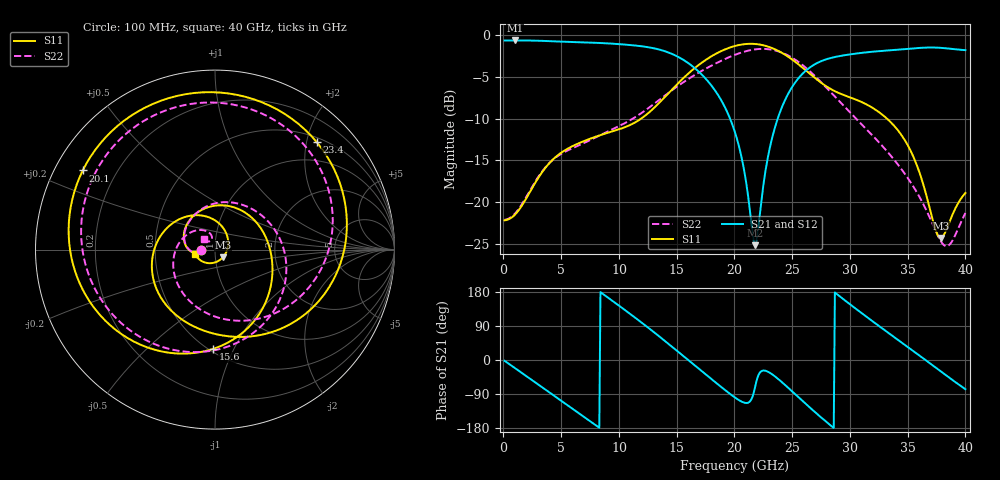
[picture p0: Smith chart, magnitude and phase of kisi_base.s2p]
! B_s8_L1L3_stub_d200: L1→L3, through via (stub to L8), drill Ø0.2
! stackup: 8-layer 1.6 mm FR-4 (generic)
! ports: 1, 2
! kisi-fdtd, conformal, dfine 0.035 mm, 595595 cells
# Hz S RI R 50
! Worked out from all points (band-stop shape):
!   400 points, 100 MHz to 40 GHz, reference 50 ohm
!   highest |S21| = -0.69 dB at 1 GHz (marker M1); lowest = -25.1 dB at 21.8 GHz (marker M2)
!   |S21| within 3 dB of the highest: start of sweep to 16.3 GHz; 26.77 GHz to end of sweep
!   lowest |S11| = -24.2 dB at 37.9 GHz (marker M3), VSWR 1.13, Z = 54.4 - j4.64 ohm
!   |S11| at or under -10 dB: start of sweep to 11.94 GHz; 33.2 GHz to end of sweep
!   |S22| runs from -25.2 to -1.7 dB; largest |S21 - S12| = 0.0068
!   S11 on the Smith chart (normalised r, x): 100 MHz: 0.86, -0.00; 15.6 GHz: 0.52, -0.84; 20.1 GHz: 0.08, +0.27; 23.4 GHz: 0.58, +2.19; 40 GHz: 0.80, -0.04
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1e8  -0.078 -0.00117  0.9233 -0.0345  0.9192 -0.0338  -0.0787 -0.00116
1e9  -0.0836 -0.0118  0.8603 -0.3371  0.8602 -0.333  -0.0849 -0.0114
3.9e9  -0.1664 0.0297  0.099 -0.9105  0.0959 -0.9112  -0.1659 0.0345
6.8e9  -0.0939 0.2092  -0.747 -0.5029  -0.7461 -0.5049  -0.1178 0.1893
9.6e9  0.1764 0.2005  -0.7827 0.4081  -0.7815 0.4092  0.0802 0.264
1.16e10  0.3052 0.00622  -0.2537 0.8208  -0.2546 0.8199  0.2781 0.1748
1.34e10  0.3007 -0.2432  0.3528 0.7385  0.3533 0.7395  0.3966 -0.0769
1.56e10  -0.00895 -0.5525  0.696 0.1203  0.6954 0.1196  0.1717 -0.4926
1.77e10  -0.5869 -0.4188  0.388 -0.3586  0.3886 -0.358  -0.3978 -0.4977
1.9e10  -0.807 -0.00593  0.1026 -0.3761  0.1029 -0.3769  -0.677 -0.2025
2.01e10  -0.7369 0.4407  -0.0449 -0.2507  -0.0458 -0.2509  -0.7432 0.1641
2.18e10  -0.1159 0.8726  0.0191 -0.0521  0.0198 -0.0516  -0.4323 0.6941
2.34e10  0.566 0.5998  0.1994 -0.1716  0.1992 -0.1724  0.1706 0.7914
2.48e10  0.7264 0.0334  0.1019 -0.4515  0.1013 -0.4508  0.5785 0.4651
2.67e10  0.3618 -0.443  -0.4178 -0.4972  -0.417 -0.4979  0.5736 -0.1398
2.82e10  0.042 -0.4784  -0.7094 -0.1331  -0.7105 -0.1333  0.2703 -0.3778
2.96e10  -0.1731 -0.397  -0.693 0.3009  -0.6924 0.3021  -0.0165 -0.367
3.16e10  -0.3454 -0.1549  -0.2742 0.7379  -0.2749 0.7364  -0.226 -0.1393
3.34e10  -0.2934 0.0902  0.2759 0.7574  0.2761 0.7594  -0.187 0.0543
3.58e10  -0.00502 0.1661  0.7963 0.2393  0.7944 0.237  -0.0491 0.1035
3.79e10  0.0443 -0.0425  0.7152 -0.4301  0.7184 -0.4271  -0.0195 0.0548
4e10  -0.1107 -0.0258  0.1804 -0.7884  0.1748 -0.7924  -0.0608 0.0614
